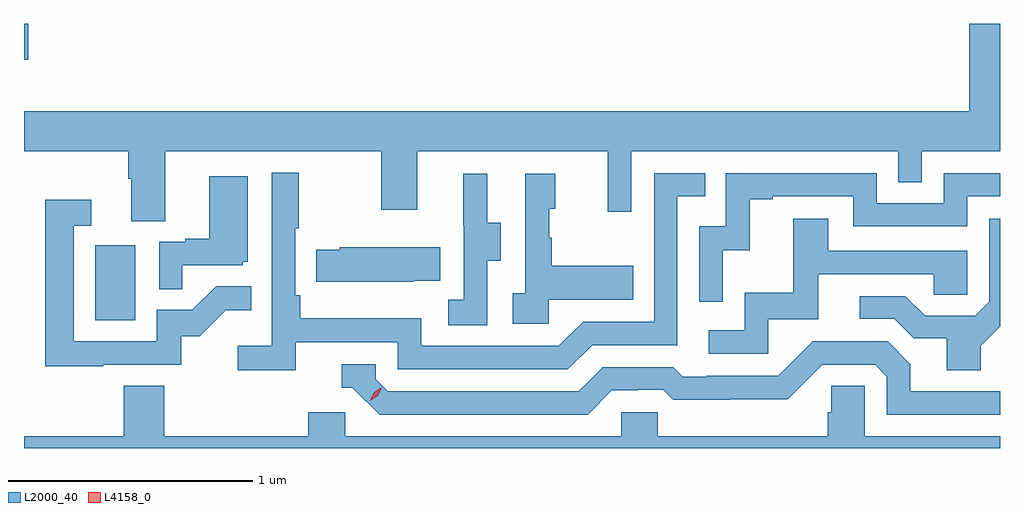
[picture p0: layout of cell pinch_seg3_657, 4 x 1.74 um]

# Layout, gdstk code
import gdstk
lib = gdstk.Library(unit=1e-6, precision=1e-09)
def R(c, l, rs):  # rectangles x0, y0, x1, y1
    for r in rs: c.add(gdstk.rectangle(r[:2], r[2:], *l))
def P(c, l, *ps):  # polygons
    for p in ps: c.add(gdstk.Polygon(p, *l))
L2000_40 = (2000, 40)
L4158_0 = (4158, 0)

pinch_seg3_657 = lib.new_cell('pinch_seg3_657')
R(pinch_seg3_657, L2000_40, [(1059.758,666.924,1059.922,667.231), (1059.466,667.992,1059.484,668.138)])
P(pinch_seg3_657, L2000_40, [(1060.045,667.616),(1060.93,667.616),(1060.93,667.377),(1061.077,667.377),(1061.077,667.616),(1061.858,667.616),(1061.858,667.368),(1061.955,667.368),(1061.955,667.616),(1063.05,667.616),(1063.05,667.489),(1063.146,667.489),(1063.146,667.616),(1063.466,667.616),(1063.466,668.138),(1063.34,668.138),(1063.34,667.78),(1059.466,667.78),(1059.466,667.616),(1059.893,667.616),(1059.893,667.504),(1059.905,667.504),(1059.905,667.33),(1060.045,667.33)],
  [(1060.58,666.834),(1060.998,666.834),(1060.998,666.723),(1061.695,666.723),(1061.794,666.822),(1062.144,666.822),(1062.144,667.431),(1062.257,667.431),(1062.257,667.527),(1062.048,667.527),(1062.048,666.918),(1061.757,666.918),(1061.658,666.819),(1061.094,666.819),(1061.094,666.931),(1060.598,666.931),(1060.598,667.027),(1060.578,667.027),(1060.578,667.3),(1060.591,667.3),(1060.591,667.528),(1060.482,667.528),(1060.482,666.82),(1060.341,666.82),(1060.341,666.718),(1060.58,666.718)],
  [(1062.33,667.211),(1062.44,667.211),(1062.44,667.419),(1062.535,667.419),(1062.535,667.431),(1062.864,667.431),(1062.864,667.308),(1063.332,667.308),(1063.332,667.431),(1063.466,667.431),(1063.466,667.527),(1063.236,667.527),(1063.236,667.404),(1062.96,667.404),(1062.96,667.527),(1062.342,667.527),(1062.342,667.308),(1062.234,667.308),(1062.234,666.999),(1062.33,666.999)],
  [(1061.364,667.168),(1061.419,667.168),(1061.419,667.323),(1061.365,667.323),(1061.365,667.525),(1061.267,667.525),(1061.267,667.311),(1061.268,667.311),(1061.268,667.007),(1061.205,667.007),(1061.205,666.904),(1061.364,666.904)],
  [(1061.616,667.007),(1061.963,667.007),(1061.963,667.147),(1061.629,667.147),(1061.629,667.262),(1061.619,667.262),(1061.619,667.38),(1061.644,667.38),(1061.644,667.525),(1061.52,667.525),(1061.52,667.034),(1061.469,667.034),(1061.469,666.909),(1061.616,666.909)],
  [(1060.115,667.149),(1060.362,667.149),(1060.362,667.164),(1060.384,667.164),(1060.384,667.513),(1060.226,667.513),(1060.226,667.258),(1060.127,667.258),(1060.127,667.245),(1060.02,667.245),(1060.02,667.051),(1060.115,667.051)],
  [(1059.791,666.741),(1060.11,666.741),(1060.11,666.858),(1060.186,666.858),(1060.293,666.965),(1060.397,666.965),(1060.397,667.064),(1060.253,667.064),(1060.155,666.966),(1060.011,666.966),(1060.011,666.837),(1059.669,666.837),(1059.669,667.311),(1059.742,667.311),(1059.742,667.417),(1059.553,667.417),(1059.553,666.736),(1059.791,666.736)],
  [(1062.516,666.927),(1062.721,666.927),(1062.721,667.113),(1063.195,667.113),(1063.195,667.029),(1063.332,667.029),(1063.332,667.209),(1062.763,667.209),(1062.763,667.339),(1062.619,667.339),(1062.619,667.036),(1062.42,667.036),(1062.42,666.882),(1062.273,666.882),(1062.273,666.786),(1062.516,666.786)],
  [(1063.387,666.82),(1063.466,666.899),(1063.466,667.339),(1063.422,667.339),(1063.422,666.999),(1063.365,666.942),(1063.159,666.942),(1063.078,667.023),(1062.891,667.023),(1062.891,666.93),(1063.032,666.93),(1063.112,666.85),(1063.247,666.85),(1063.247,666.718),(1063.387,666.718)],
  [(1061.063,667.085),(1061.171,667.085),(1061.171,667.222),(1060.761,667.222),(1060.761,667.212),(1060.663,667.212),(1060.663,667.082),(1061.063,667.082)],
  [(1061.875,666.636),(1061.982,666.636),(1061.982,666.639),(1062.085,666.639),(1062.127,666.597),(1062.36,666.597),(1062.36,666.599),(1062.596,666.599),(1062.738,666.741),(1062.954,666.741),(1063.002,666.693),(1063.002,666.537),(1063.466,666.537),(1063.466,666.633),(1063.099,666.633),(1063.099,666.743),(1063.005,666.837),(1062.699,666.837),(1062.558,666.696),(1062.265,666.696),(1062.265,666.693),(1062.166,666.693),(1062.127,666.732),(1061.838,666.732),(1061.739,666.633),(1060.956,666.633),(1060.908,666.681),(1060.908,666.744),(1060.769,666.744),(1060.769,666.648),(1060.812,666.648),(1060.923,666.537),(1061.776,666.537)],
  [(1063.466,666.448),(1062.912,666.448),(1062.912,666.656),(1062.775,666.656),(1062.775,666.546),(1062.761,666.546),(1062.761,666.448),(1062.063,666.448),(1062.063,666.546),(1061.913,666.546),(1061.913,666.448),(1060.782,666.448),(1060.782,666.546),(1060.631,666.546),(1060.631,666.448),(1060.04,666.448),(1060.04,666.656),(1059.875,666.656),(1059.875,666.448),(1059.466,666.448),(1059.466,666.4),(1063.466,666.4)])
P(pinch_seg3_657, L4158_0, [(1060.885,666.594),(1060.885,666.595),(1060.901,666.628),(1060.931,666.648),(1060.932,666.648),(1060.932,666.647),(1060.916,666.614),(1060.886,666.594)])

lib.write_gds('pinch_seg3_657.gds')
